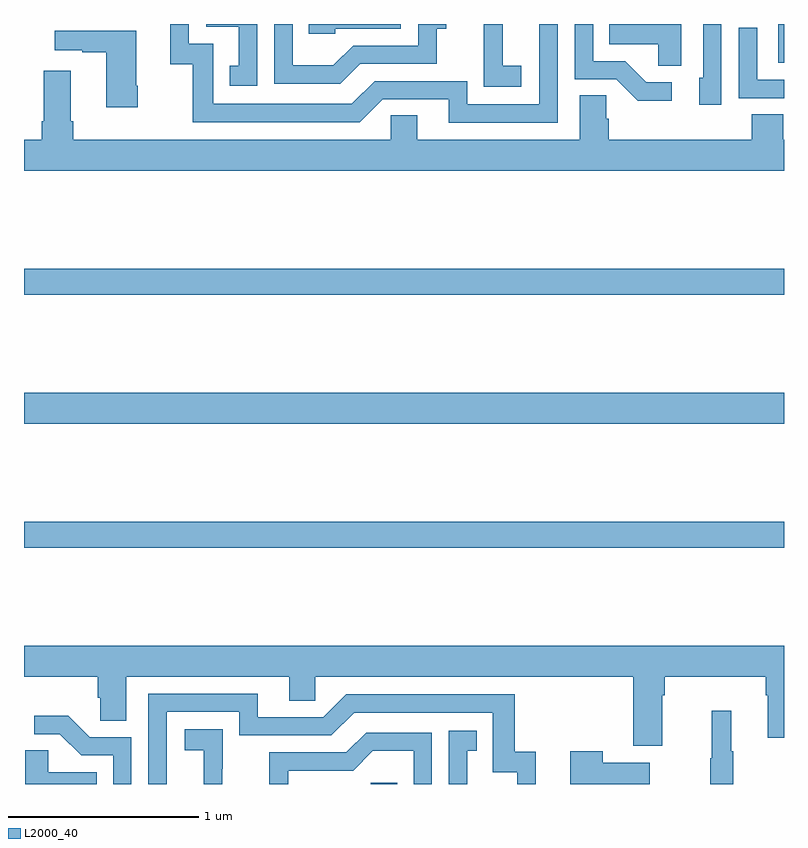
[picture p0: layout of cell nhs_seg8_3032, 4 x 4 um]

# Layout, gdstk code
import gdstk
lib = gdstk.Library(unit=1e-6, precision=1e-09)
def R(c, l, rs):  # rectangles x0, y0, x1, y1
    for r in rs: c.add(gdstk.rectangle(r[:2], r[2:], *l))
def P(c, l, *ps):  # polygons
    for p in ps: c.add(gdstk.Polygon(p, *l))
L2000_40 = (2000, 40)

nhs_seg8_3032 = lib.new_cell('nhs_seg8_3032')
R(nhs_seg8_3032, L2000_40, [(300.825,1151.9,300.965,1151.907), (299,1153.144,303,1153.28), (299,1153.796,303,1153.96), (299,1154.476,303,1154.612), (302.969,1155.695,303,1155.9)])
P(nhs_seg8_3032, L2000_40, [(302.41,1155.594),(302.275,1155.594),(302.164,1155.705),(301.995,1155.705),(301.995,1155.9),(301.899,1155.9),(301.899,1155.609),(302.118,1155.609),(302.231,1155.497),(302.41,1155.497)],
  [(300.769,1155.69),(301.173,1155.69),(301.173,1155.875),(301.222,1155.875),(301.222,1155.9),(301.074,1155.9),(301.074,1155.786),(300.732,1155.786),(300.628,1155.682),(300.414,1155.682),(300.414,1155.9),(300.318,1155.9),(300.318,1155.585),(300.664,1155.585)],
  [(302.67,1155.9),(302.574,1155.9),(302.574,1155.618),(302.555,1155.618),(302.555,1155.474),(302.67,1155.474)],
  [(301.809,1155.9),(301.713,1155.9),(301.713,1155.477),(301.332,1155.477),(301.332,1155.6),(300.846,1155.6),(300.726,1155.48),(299.997,1155.48),(299.997,1155.795),(299.868,1155.795),(299.868,1155.9),(299.771,1155.9),(299.771,1155.687),(299.889,1155.687),(299.889,1155.384),(300.768,1155.384),(300.888,1155.504),(301.235,1155.504),(301.235,1155.381),(301.809,1155.381)],
  [(300.228,1155.9),(299.958,1155.9),(299.958,1155.885),(300.131,1155.885),(300.131,1155.681),(300.082,1155.681),(300.082,1155.576),(300.228,1155.576)],
  [(300.639,1155.876),(300.984,1155.876),(300.984,1155.9),(300.499,1155.9),(300.499,1155.849),(300.639,1155.849)],
  [(301.618,1155.679),(301.52,1155.679),(301.52,1155.9),(301.421,1155.9),(301.421,1155.775),(301.42,1155.775),(301.42,1155.569),(301.618,1155.569)],
  [(302.458,1155.898),(302.08,1155.898),(302.08,1155.794),(302.337,1155.794),(302.337,1155.679),(302.458,1155.679)],
  [(303,1155.606),(302.859,1155.606),(302.859,1155.88),(302.763,1155.88),(302.763,1155.51),(303,1155.51)],
  [(299.598,1155.574),(299.59,1155.574),(299.59,1155.865),(299.163,1155.865),(299.163,1155.761),(299.306,1155.761),(299.306,1155.751),(299.432,1155.751),(299.432,1155.462),(299.598,1155.462)],
  [(303,1155.292),(302.996,1155.292),(302.996,1155.425),(302.831,1155.425),(302.831,1155.292),(302.078,1155.292),(302.078,1155.401),(302.064,1155.401),(302.064,1155.524),(301.925,1155.524),(301.925,1155.292),(301.069,1155.292),(301.069,1155.419),(300.93,1155.419),(300.93,1155.292),(299.258,1155.292),(299.258,1155.388),(299.245,1155.388),(299.245,1155.655),(299.105,1155.655),(299.105,1155.388),(299.093,1155.388),(299.093,1155.292),(299,1155.292),(299,1155.128),(303,1155.128)],
  [(302.359,1152.368),(302.372,1152.368),(302.372,1152.464),(302.903,1152.464),(302.903,1152.368),(302.915,1152.368),(302.915,1152.144),(303,1152.144),(303,1152.628),(299,1152.628),(299,1152.464),(299.387,1152.464),(299.387,1152.355),(299.4,1152.355),(299.4,1152.232),(299.539,1152.232),(299.539,1152.464),(300.395,1152.464),(300.395,1152.337),(300.534,1152.337),(300.534,1152.464),(302.207,1152.464),(302.207,1152.102),(302.359,1152.102)],
  [(299.751,1152.279),(300.132,1152.279),(300.132,1152.156),(300.618,1152.156),(300.738,1152.276),(301.467,1152.276),(301.467,1151.961),(301.596,1151.961),(301.596,1151.9),(301.694,1151.9),(301.694,1152.07),(301.583,1152.07),(301.583,1152.372),(300.696,1152.372),(300.576,1152.252),(300.229,1152.252),(300.229,1152.375),(299.655,1152.375),(299.655,1151.9),(299.751,1151.9)],
  [(302.734,1152.073),(302.723,1152.073),(302.723,1152.286),(302.62,1152.286),(302.62,1152.036),(302.613,1152.036),(302.613,1151.9),(302.734,1151.9)],
  [(299.565,1152.147),(299.346,1152.147),(299.233,1152.26),(299.055,1152.26),(299.055,1152.162),(299.189,1152.162),(299.3,1152.051),(299.469,1152.051),(299.469,1151.9),(299.565,1151.9)],
  [(300.044,1151.981),(300.045,1151.981),(300.045,1152.187),(299.847,1152.187),(299.847,1152.077),(299.945,1152.077),(299.945,1151.9),(300.044,1151.9)],
  [(301.333,1152.075),(301.382,1152.075),(301.382,1152.181),(301.236,1152.181),(301.236,1151.9),(301.333,1151.9)],
  [(300.39,1151.97),(300.732,1151.97),(300.836,1152.074),(301.05,1152.074),(301.05,1151.9),(301.146,1151.9),(301.146,1152.171),(300.8,1152.171),(300.695,1152.066),(300.292,1152.066),(300.292,1151.9),(300.39,1151.9)],
  [(299.384,1151.962),(299.127,1151.962),(299.127,1152.077),(299.006,1152.077),(299.006,1151.9),(299.384,1151.9)],
  [(302.293,1152.013),(302.045,1152.013),(302.045,1152.073),(301.874,1152.073),(301.874,1151.9),(302.293,1151.9)])

lib.write_gds('nhs_seg8_3032.gds')
